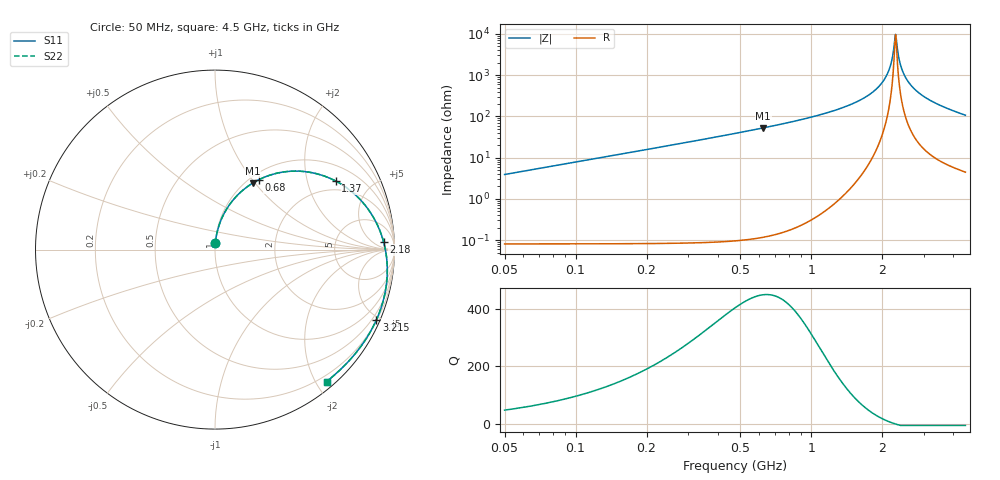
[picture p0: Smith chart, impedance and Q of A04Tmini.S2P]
! Coilcraft A04T_ Mini Spring Air Core Inductor
! 30 May 2003
# MHZ S MA R 50
!Freq  MagS11  AngS11  MagS21  AngS21  MagS12  AngS12  MagS22  AngS22
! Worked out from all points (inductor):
!   891 points, 50 MHz to 4.5 GHz, reference 50 ohm
!   read as 1/Y11, port 2 shorted: L = 12.4 nH near 70 MHz
!   highest Q = 449 at 625 MHz (marker M1), where L = 13.4 nH
!   self-resonance near 2.275 GHz
!   S11 on the Smith chart (normalised r, x): 50 MHz: 1.00, +0.07; 680 MHz: 1.09, +1.07; 1.37 GHz: 1.59, +3.02; 2.18 GHz: 21, +16; 3.215 GHz: 0.23, -4.77; 4.5 GHz: 0.11, -2.15
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50  0.03603 86.3  0.9985 -2.4  0.9985 -2.4  0.03603 86.3
130  0.09344 83.3  0.9948 -6.2  0.9948 -6.2  0.09347 83.3
240  0.1715 78.3  0.9844 -11.5  0.9844 -11.5  0.1715 78.3
405  0.2848 70.6  0.9578 -19.3  0.9578 -19.3  0.2849 70.6
625  0.4254 60.5  0.904 -29.4  0.904 -29.4  0.4255 60.5
680  0.4582 58.0  0.8878 -31.8  0.8878 -31.8  0.4583 58.0
795  0.5234 52.9  0.8509 -36.9  0.8509 -36.9  0.5235 52.9
1070  0.659 41.3  0.7498 -48.5  0.7498 -48.5  0.6592 41.3
1370  0.774 29.5  0.6285 -60.1  0.6285 -60.1  0.7742 29.5
1535  0.8234 23.5  0.5605 -66.0  0.5605 -66.0  0.8236 23.5
1850  0.8938 12.8  0.4343 -76.3  0.4343 -76.3  0.8941 12.8
2180  0.9404 2.6  0.3126 -85.7  0.3126 -85.7  0.9406 2.6
2275  0.9496 -0.1  0.2801 -88.0  0.2801 -88.0  0.9499 -0.1
2710  0.9748 -11.7  0.148 -96.2  0.148 -96.2  0.975 -11.7
3020  0.9804 -19.2  0.07148 -95.4  0.07148 -95.4  0.9806 -19.2
3215  0.9806 -23.6  0.03322 -79.1  0.03322 -79.1  0.9809 -23.6
3310  0.9801 -25.7  0.02154 -49.8  0.02154 -49.8  0.9803 -25.7
3370  0.9796 -27.0  0.02033 -20.5  0.02033 -20.5  0.9798 -27.0
3590  0.9769 -31.6  0.04484 28.8  0.04484 28.8  0.9771 -31.6
3760  0.9742 -35.1  0.06733 34.4  0.06733 34.4  0.9744 -35.1
4085  0.9687 -41.6  0.1023 33.6  0.1023 33.6  0.9689 -41.6
4500  0.9626 -49.8  0.1288 27.1  0.1288 27.1  0.9628 -49.8
